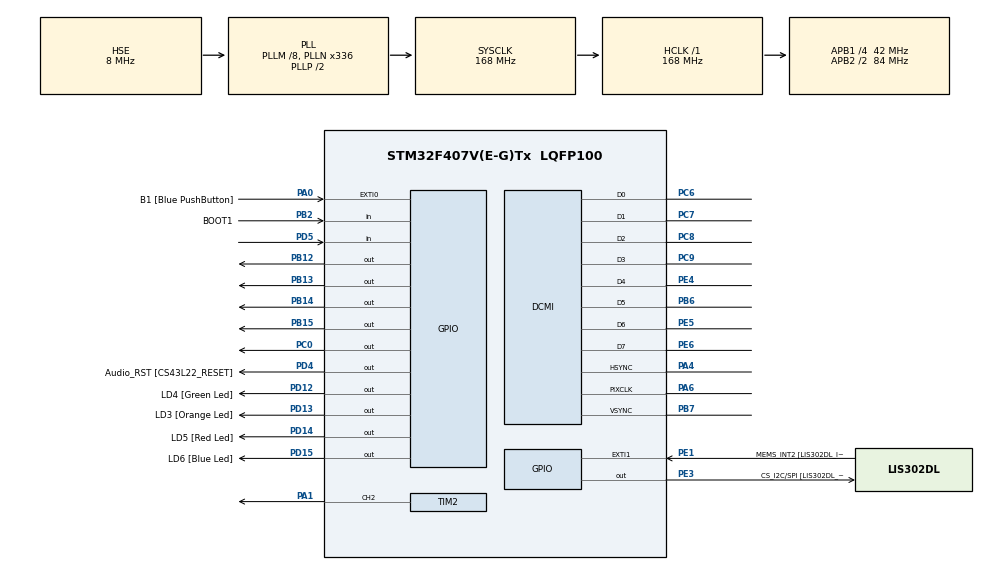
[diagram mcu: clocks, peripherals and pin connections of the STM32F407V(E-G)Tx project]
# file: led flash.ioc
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Dma.DCMI.0.Direction=DMA_PERIPH_TO_MEMORY
Dma.DCMI.0.FIFOMode=DMA_FIFOMODE_ENABLE
Dma.DCMI.0.FIFOThreshold=DMA_FIFO_THRESHOLD_FULL
Dma.DCMI.0.Instance=DMA2_Stream1
Dma.DCMI.0.MemBurst=DMA_MBURST_SINGLE
Dma.DCMI.0.MemDataAlignment=DMA_MDATAALIGN_WORD
Dma.DCMI.0.MemInc=DMA_MINC_ENABLE
Dma.DCMI.0.Mode=DMA_NORMAL
Dma.DCMI.0.PeriphBurst=DMA_PBURST_SINGLE
Dma.DCMI.0.PeriphDataAlignment=DMA_PDATAALIGN_WORD
Dma.DCMI.0.PeriphInc=DMA_PINC_DISABLE
Dma.DCMI.0.Priority=DMA_PRIORITY_HIGH
Dma.Request0=DCMI
Dma.Request1=TIM2_CH2/CH4
Dma.TIM2_CH2/CH4.1.Direction=DMA_MEMORY_TO_PERIPH
Dma.TIM2_CH2/CH4.1.FIFOMode=DMA_FIFOMODE_DISABLE
Dma.TIM2_CH2/CH4.1.Instance=DMA1_Stream6
Dma.TIM2_CH2/CH4.1.MemDataAlignment=DMA_MDATAALIGN_WORD
Dma.TIM2_CH2/CH4.1.MemInc=DMA_MINC_ENABLE
Dma.TIM2_CH2/CH4.1.Mode=DMA_NORMAL
Dma.TIM2_CH2/CH4.1.PeriphDataAlignment=DMA_PDATAALIGN_WORD
Dma.TIM2_CH2/CH4.1.PeriphInc=DMA_PINC_DISABLE
Dma.TIM2_CH2/CH4.1.Priority=DMA_PRIORITY_HIGH
Mcu.Family=STM32F4
Mcu.Name=STM32F407V(E-G)Tx
Mcu.Package=LQFP100
NVIC.DMA1_Stream6_IRQn=true\:0\:0\:false\:false\:true\:false\:true\:true
NVIC.DMA2_Stream1_IRQn=true\:0\:0\:false\:false\:true\:false\:true\:true
NVIC.PriorityGroup=NVIC_PRIORITYGROUP_4
PA0-WKUP.GPIO_Label=B1 [Blue PushButton]
PA0-WKUP.GPIO_ModeDefaultEXTI=GPIO_MODE_EVT_RISING
PA0-WKUP.GPIO_PuPd=GPIO_NOPULL
PA0-WKUP.Signal=GPXTI0
PA1.GPIO_Speed=GPIO_SPEED_FREQ_VERY_HIGH
PA1.Signal=S_TIM2_CH2
PA13.GPIO_Label=SWDIO
PA13.Mode=Serial_Wire
PA13.Signal=SYS_JTMS-SWDIO
PA14.GPIO_Label=SWCLK
PA14.Mode=Serial_Wire
PA14.Signal=SYS_JTCK-SWCLK
PA4.GPIO_Speed=GPIO_SPEED_FREQ_VERY_HIGH
PA4.Mode=Slave_8_bits_External_Synchro
PA4.Signal=DCMI_HSYNC
PA5.GPIO_Label=SPI1_SCK [LIS302DL_SCL/SPC]
PA5.GPIO_Mode=GPIO_MODE_AF_PP
PA5.GPIO_PuPd=GPIO_NOPULL
PA5.GPIO_Speed=GPIO_SPEED_FREQ_LOW
PA5.Signal=SPI1_SCK
PA6.GPIO_Speed=GPIO_SPEED_FREQ_VERY_HIGH
PA6.Mode=Slave_8_bits_External_Synchro
PA6.Signal=DCMI_PIXCLK
PA7.GPIO_Label=SPI1_MOSI [LIS302DL_SDA/SDI/SDO]
PA7.GPIO_Mode=GPIO_MODE_AF_PP
PA7.GPIO_PuPd=GPIO_NOPULL
PA7.GPIO_Speed=GPIO_SPEED_FREQ_LOW
PA7.Signal=SPI1_MOSI
PB10.GPIO_Label=CLK_IN [MP45DT02_CLK]
PB10.GPIO_Mode=GPIO_MODE_AF_PP
PB10.GPIO_PuPd=GPIO_NOPULL
PB10.GPIO_Speed=GPIO_SPEED_FREQ_LOW
PB10.Signal=I2S2_CK
PB12.Signal=GPIO_Output
PB13.Signal=GPIO_Output
PB14.Signal=GPIO_Output
PB15.Signal=GPIO_Output
PB2.GPIO_Label=BOOT1
PB2.GPIO_Mode=GPIO_MODE_INPUT
PB2.GPIO_PuPd=GPIO_NOPULL
PB2.Signal=GPIO_Input
PB3.GPIO_Label=SWO
PB3.Signal=SYS_JTDO-SWO
PB6.GPIO_Speed=GPIO_SPEED_FREQ_VERY_HIGH
PB6.Mode=Slave_8_bits_External_Synchro
PB6.Signal=DCMI_D5
PB7.GPIO_Speed=GPIO_SPEED_FREQ_VERY_HIGH
PB7.Mode=Slave_8_bits_External_Synchro
PB7.Signal=DCMI_VSYNC
PB9.GPIO_Label=Audio_SDA [CS43L22_SDA]
PB9.GPIO_Mode=GPIO_MODE_AF_OD
PB9.GPIO_Pu=GPIO_PULLUP
PB9.GPIO_PuPd=GPIO_NOPULL
PB9.GPIO_Speed=GPIO_SPEED_FREQ_LOW
PB9.Signal=I2C1_SDA
PC0.GPIO_PuPd=GPIO_NOPULL
PC0.GPIO_Speed=GPIO_SPEED_FREQ_LOW
PC0.PinState=GPIO_PIN_SET
PC0.Signal=GPIO_Output
PC10.GPIO_Label=I2S3_SCK [CS43L22_SCLK]
PC10.GPIO_Mode=GPIO_MODE_AF_PP
PC10.GPIO_PuPd=GPIO_NOPULL
PC10.GPIO_Speed=GPIO_SPEED_FREQ_LOW
PC10.Signal=I2S3_CK
PC12.GPIO_Label=I2S3_SD [CS43L22_SDIN]
PC12.GPIO_Mode=GPIO_MODE_AF_PP
PC12.GPIO_PuPd=GPIO_NOPULL
PC12.GPIO_Speed=GPIO_SPEED_FREQ_LOW
PC12.Signal=I2S3_SD
PC14-OSC32_IN.GPIO_Label=PC14-OSC32_IN
PC14-OSC32_IN.Mode=LSE-External-Oscillator
PC14-OSC32_IN.Signal=RCC_OSC32_IN
PC15-OSC32_OUT.GPIO_Label=PC15-OSC32_OUT
PC15-OSC32_OUT.Mode=LSE-External-Oscillator
PC15-OSC32_OUT.Signal=RCC_OSC32_OUT
PC3.GPIO_Label=PDM_OUT [MP45DT02_DOUT]
PC3.GPIO_Mode=GPIO_MODE_AF_PP
PC3.GPIO_PuPd=GPIO_NOPULL
PC3.GPIO_Speed=GPIO_SPEED_FREQ_LOW
PC3.Signal=I2S2_SD
PC6.GPIO_Speed=GPIO_SPEED_FREQ_VERY_HIGH
PC6.Mode=Slave_8_bits_External_Synchro
PC6.Signal=DCMI_D0
PC7.GPIO_Speed=GPIO_SPEED_FREQ_VERY_HIGH
PC7.Mode=Slave_8_bits_External_Synchro
PC7.Signal=DCMI_D1
PC8.GPIO_Speed=GPIO_SPEED_FREQ_VERY_HIGH
PC8.Mode=Slave_8_bits_External_Synchro
PC8.Signal=DCMI_D2
PC9.GPIO_Speed=GPIO_SPEED_FREQ_VERY_HIGH
PC9.Mode=Slave_8_bits_External_Synchro
PC9.Signal=DCMI_D3
PD12.GPIO_Label=LD4 [Green Led]
PD12.GPIO_PuPd=GPIO_NOPULL
PD12.GPIO_Speed=GPIO_SPEED_FREQ_LOW
PD12.Signal=GPIO_Output
PD13.GPIO_Label=LD3 [Orange Led]
PD13.GPIO_PuPd=GPIO_NOPULL
PD13.GPIO_Speed=GPIO_SPEED_FREQ_LOW
PD13.Signal=GPIO_Output
PD14.GPIO_Label=LD5 [Red Led]
PD14.GPIO_PuPd=GPIO_NOPULL
PD14.GPIO_Speed=GPIO_SPEED_FREQ_LOW
PD14.Signal=GPIO_Output
PD15.GPIO_Label=LD6 [Blue Led]
PD15.GPIO_PuPd=GPIO_NOPULL
PD15.GPIO_Speed=GPIO_SPEED_FREQ_LOW
PD15.Signal=GPIO_Output
PD4.GPIO_Label=Audio_RST [CS43L22_RESET]
PD4.GPIO_PuPd=GPIO_NOPULL
PD4.GPIO_Speed=GPIO_SPEED_FREQ_LOW
PD4.Signal=GPIO_Output
PD5.GPIO_Mode=GPIO_MODE_INPUT
PD5.GPIO_PuPd=GPIO_NOPULL
PD5.Signal=GPIO_Input
PE1.GPIO_Label=MEMS_INT2 [LIS302DL_INT2]
PE1.GPIO_ModeDefaultEXTI=GPIO_MODE_EVT_RISING
PE1.GPIO_PuPd=GPIO_NOPULL
PE1.Signal=GPXTI1
PE3.GPIO_Label=CS_I2C/SPI [LIS302DL_CS_I2C/SPI]
PE3.GPIO_PuPd=GPIO_NOPULL
PE3.GPIO_Speed=GPIO_SPEED_FREQ_LOW
PE3.Signal=GPIO_Output
PE4.GPIO_Speed=GPIO_SPEED_FREQ_VERY_HIGH
PE4.Mode=Slave_8_bits_External_Synchro
PE4.Signal=DCMI_D4
PE5.GPIO_Speed=GPIO_SPEED_FREQ_VERY_HIGH
PE5.Mode=Slave_8_bits_External_Synchro
PE5.Signal=DCMI_D6
PE6.GPIO_Speed=GPIO_SPEED_FREQ_VERY_HIGH
PE6.Mode=Slave_8_bits_External_Synchro
PE6.Signal=DCMI_D7
PH0-OSC_IN.GPIO_Label=PH0-OSC_IN
PH0-OSC_IN.Mode=HSE-External-Oscillator
PH0-OSC_IN.Signal=RCC_OSC_IN
PH1-OSC_OUT.GPIO_Label=PH1-OSC_OUT
PH1-OSC_OUT.Mode=HSE-External-Oscillator
PH1-OSC_OUT.Signal=RCC_OSC_OUT
ProjectManager.HeapSize=0x200
ProjectManager.StackSize=0x400
ProjectManager.TargetToolchain=STM32CubeIDE
RCC.48MHZClocksFreq_Value=48000000
RCC.AHBFreq_Value=168000000
RCC.APB1CLKDivider=RCC_HCLK_DIV4
RCC.APB1Freq_Value=42000000
RCC.APB1TimFreq_Value=84000000
RCC.APB2CLKDivider=RCC_HCLK_DIV2
RCC.APB2Freq_Value=84000000
RCC.APB2TimFreq_Value=168000000
RCC.CortexFreq_Value=168000000
RCC.HCLKFreq_Value=168000000
RCC.HSE_VALUE=8000000
RCC.HSI_VALUE=16000000
RCC.PLLM=8
RCC.PLLN=336
RCC.PLLQ=7
RCC.SYSCLKFreq_VALUE=168000000
RCC.SYSCLKSource=RCC_SYSCLKSOURCE_PLLCLK
RCC.VCOOutputFreq_Value=336000000
SH.S_TIM2_CH2.0=TIM2_CH2,PWM Generation2 CH2
TIM2.Channel-PWM\ Generation2\ CH2=TIM_CHANNEL_2
TIM2.Period=104
VP_TIM2_VS_ClockSourceINT.Mode=Internal
board=STM32F407G-DISC1

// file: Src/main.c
/* USER CODE BEGIN Header */
/**
  ******************************************************************************
  * @file           : main.c
  * @brief          : Main program body
  ******************************************************************************
  * @attention
  *
  * Copyright (c) 2026 STMicroelectronics.
  * All rights reserved.
  *
  * This software is licensed under terms that can be found in the LICENSE file
  * in the root directory of this software component.
  * If no LICENSE file comes with this software, it is provided AS-IS.
  *
  ******************************************************************************
  */
/* USER CODE END Header */
#include "main.h"

/* USER CODE BEGIN Includes */
#include "app_config.h"
#include "dcmi_capture.h"
#include "ws2812.h"

/* USER CODE END Includes */

/* USER CODE BEGIN PD */

#define TFP401_SIGNAL_DIAGNOSTIC_MODE APP_ENABLE_TFP401_SIGNAL_DIAGNOSTIC
/* Passive signal monitor for normal DCMI operation. It samples the DCMI GPIO
 * inputs from the main loop and accumulates transitions without taking over
 * the pipeline or changing the pin configuration.
 */
#define TFP401_SIGNAL_MONITOR APP_ENABLE_TFP401_SIGNAL_MONITOR

#define LED_STRIP_SELF_TEST_MODE APP_ENABLE_LED_SELF_TEST
#define LED_RANDOM_COLOR_HOLD_MS 250U
#define LED_RANDOM_OFF_HOLD_MS    80U
#define LED_RANDOM_MAX_CHANNEL    80U
/* USER CODE END PD */

DCMI_HandleTypeDef hdcmi;
DMA_HandleTypeDef hdma_dcmi;

TIM_HandleTypeDef htim2;
DMA_HandleTypeDef hdma_tim2_ch2_ch4;

/* USER CODE BEGIN PV */
#if TFP401_SIGNAL_DIAGNOSTIC_MODE || TFP401_SIGNAL_MONITOR
volatile uint32_t g_tfp401_pclk_transitions;
volatile uint32_t g_tfp401_hsync_transitions;
volatile uint32_t g_tfp401_vsync_transitions;
volatile uint32_t g_tfp401_pclk_last;
volatile uint32_t g_tfp401_hsync_last;
volatile uint32_t g_tfp401_vsync_last;
volatile uint32_t g_tfp401_data_transitions;
volatile uint32_t g_tfp401_data_sample_count;
volatile uint32_t g_tfp401_data_last;
volatile uint32_t g_tfp401_data_high_percent[8];
volatile uint32_t g_tfp401_data_bit_transitions[8];
#endif

#if LED_STRIP_SELF_TEST_MODE
volatile uint32_t g_led_self_test_phase;
#endif

/* USER CODE END PV */

void SystemClock_Config(void);
static void MX_GPIO_Init(void);
static void MX_DMA_Init(void);
static void MX_DCMI_Init(void);
static void MX_TIM2_Init(void);

/* USER CODE BEGIN 0 */
#if TFP401_SIGNAL_DIAGNOSTIC_MODE || TFP401_SIGNAL_MONITOR
static uint32_t tfp401_read_data(void)
{
    uint32_t data = 0U;

    data |= (GPIOC->IDR >> 6U) & 0x0FU;       /* D0..D3: PC6..PC9 */
    data |= ((GPIOE->IDR >> 4U) & 0x01U) << 4U; /* D4: PE4 */
    data |= ((GPIOB->IDR >> 6U) & 0x01U) << 5U; /* D5: PB6 */
    data |= ((GPIOE->IDR >> 5U) & 0x03U) << 6U; /* D6,D7: PE5,PE6 */
    return data;
}
#endif

#if TFP401_SIGNAL_DIAGNOSTIC_MODE
static void tfp401_signal_diagnostic_run(void)
{
    for (;;) {
        uint32_t previous_pclk = (GPIOA->IDR & GPIO_PIN_6) != 0U;
        uint32_t previous_hsync = (GPIOA->IDR & GPIO_PIN_4) != 0U;
        uint32_t previous_vsync = (GPIOB->IDR & GPIO_PIN_7) != 0U;
        uint32_t previous_data = tfp401_read_data();
        uint32_t started = HAL_GetTick();
        uint32_t pclk_transitions = 0U;
        uint32_t hsync_transitions = 0U;
        uint32_t vsync_transitions = 0U;
        uint32_t data_transitions = 0U;
        uint32_t data_sample_count = 0U;
        uint32_t data_high_count[8] = {0U};
        uint32_t data_bit_transitions[8] = {0U};

        while ((HAL_GetTick() - started) < 250U) {
            uint32_t pclk = (GPIOA->IDR & GPIO_PIN_6) != 0U;
            uint32_t hsync = (GPIOA->IDR & GPIO_PIN_4) != 0U;
            uint32_t vsync = (GPIOB->IDR & GPIO_PIN_7) != 0U;
            uint32_t data = tfp401_read_data();

            pclk_transitions += pclk != previous_pclk;
            hsync_transitions += hsync != previous_hsync;
            vsync_transitions += vsync != previous_vsync;
            data_transitions += data != previous_data;
            for (uint32_t bit = 0U; bit < 8U; bit++) {
                data_high_count[bit] += (data >> bit) & 0x01U;
                data_bit_transitions[bit] +=
                    ((data ^ previous_data) >> bit) & 0x01U;
            }
            data_sample_count++;
            previous_pclk = pclk;
            previous_hsync = hsync;
            previous_vsync = vsync;
            previous_data = data;
        }

        g_tfp401_pclk_transitions = pclk_transitions;
        g_tfp401_hsync_transitions = hsync_transitions;
        g_tfp401_vsync_transitions = vsync_transitions;
        g_tfp401_data_transitions = data_transitions;
        g_tfp401_data_sample_count = data_sample_count;
        g_tfp401_data_last = previous_data;
        for (uint32_t bit = 0U; bit < 8U; bit++) {
            g_tfp401_data_high_percent[bit] =
                data_sample_count != 0U
                    ? (data_high_count[bit] * 100U) / data_sample_count
                    : 0U;
            g_tfp401_data_bit_transitions[bit] = data_bit_transitions[bit];
        }

        HAL_GPIO_WritePin(GPIOD, LD4_Pin,
                          pclk_transitions != 0U ? GPIO_PIN_SET : GPIO_PIN_RESET);
        HAL_GPIO_WritePin(GPIOD, LD3_Pin,
                          hsync_transitions != 0U ? GPIO_PIN_SET : GPIO_PIN_RESET);
        HAL_GPIO_WritePin(GPIOD, LD5_Pin,
                          vsync_transitions != 0U ? GPIO_PIN_SET : GPIO_PIN_RESET);
        HAL_GPIO_WritePin(GPIOD, LD6_Pin,
                          data_transitions != 0U ? GPIO_PIN_SET : GPIO_PIN_RESET);
    }
}
#endif

#if LED_STRIP_SELF_TEST_MODE
static void led_test_set_status_leds(uint32_t mask)
{
    HAL_GPIO_WritePin(GPIOD, LD4_Pin,
                      (mask & 0x1U) != 0U ? GPIO_PIN_SET : GPIO_PIN_RESET);
    HAL_GPIO_WritePin(GPIOD, LD3_Pin,
                      (mask & 0x2U) != 0U ? GPIO_PIN_SET : GPIO_PIN_RESET);
    HAL_GPIO_WritePin(GPIOD, LD5_Pin,
                      (mask & 0x4U) != 0U ? GPIO_PIN_SET : GPIO_PIN_RESET);
    HAL_GPIO_WritePin(GPIOD, LD6_Pin,
                      (mask & 0x8U) != 0U ? GPIO_PIN_SET : GPIO_PIN_RESET);
}

static void led_test_show(uint8_t r, uint8_t g, uint8_t b, uint32_t status_mask)
{
    led_test_set_status_leds(status_mask);
    WS2812_TestSolidRgb(r, g, b);
}

static void led_test_hold(uint32_t duration_ms)
{
    uint32_t started = HAL_GetTick();

    while ((HAL_GetTick() - started) < duration_ms) {
        /* A frame requested while the previous DMA transfer is finishing is
         * deferred. Keep flushing so every synthetic test color reaches DIN.
         */
        WS2812_Flush();
        HAL_Delay(1U);
    }
}

static uint32_t led_test_random_next(uint32_t *state)
{
    uint32_t value = *state;

    value ^= value << 13U;
    value ^= value >> 17U;
    value ^= value << 5U;
    *state = value;
    return value;
}

static void led_strip_self_test_run(void)
{
    uint32_t random_state = 0x6D2B79F5U;

    WS2812_Init();

    for (;;) {
        uint32_t random = led_test_random_next(&random_state);
        uint8_t r = (uint8_t)(random % (LED_RANDOM_MAX_CHANNEL + 1U));
        uint8_t g = (uint8_t)((random >> 8U) % (LED_RANDOM_MAX_CHANNEL + 1U));
        uint8_t b = (uint8_t)((random >> 16U) % (LED_RANDOM_MAX_CHANNEL + 1U));

        /* Keep every test frame clearly visible without requesting full-strip
         * maximum current from a random near-white combination. */
        if (r < 24U && g < 24U && b < 24U) {
            b = 48U;
        }

        g_led_self_test_phase++;
        led_test_show(r, g, b, g_led_self_test_phase & 0x0FU);
        led_test_hold(LED_RANDOM_COLOR_HOLD_MS);

        led_test_show(0U, 0U, 0U, 0U);
        led_test_hold(LED_RANDOM_OFF_HOLD_MS);
    }
}
#endif

#if TFP401_SIGNAL_MONITOR
static void tfp401_signal_monitor_task(void)
{
    static uint32_t initialized;
    static uint32_t previous_pclk;
    static uint32_t previous_hsync;
    static uint32_t previous_vsync;
    static uint32_t previous_data;
    uint32_t pclk = (GPIOA->IDR & GPIO_PIN_6) != 0U;
    uint32_t hsync = (GPIOA->IDR & GPIO_PIN_4) != 0U;
    uint32_t vsync = (GPIOB->IDR & GPIO_PIN_7) != 0U;
    uint32_t data = tfp401_read_data();

    if (initialized != 0U) {
        uint32_t changed_data = data ^ previous_data;

        g_tfp401_pclk_transitions += pclk != previous_pclk;
        g_tfp401_hsync_transitions += hsync != previous_hsync;
        g_tfp401_vsync_transitions += vsync != previous_vsync;
        g_tfp401_data_transitions += changed_data != 0U;
        for (uint32_t bit = 0U; bit < 8U; bit++) {
            g_tfp401_data_bit_transitions[bit] +=
                (changed_data >> bit) & 0x01U;
        }
    } else {
        initialized = 1U;
    }

    g_tfp401_data_sample_count++;
    g_tfp401_data_last = data;
    g_tfp401_pclk_last = pclk;
    g_tfp401_hsync_last = hsync;
    g_tfp401_vsync_last = vsync;
    previous_pclk = pclk;
    previous_hsync = hsync;
    previous_vsync = vsync;
    previous_data = data;
}
#endif

#if EDID_WRITER_MODE
/* Bit-banged I2C master (~25 kHz, open-drain with internal pull-ups) for the
 * 24C02-class EDID EEPROM at address 0x50 on the TFP401 breakout's pads.
 *
 * Flow, watched through Live Expressions:
 *   boot  -> reads all 256 EEPROM bytes into g_edid_dump
 *            g_edid_state = 2 (armed), blue LED blinking
 *            (stock content starts 00 FF .. FF 00 04 81 04 00)
 *   press the blue USER button -> writes the AMBILIGHT EDID (orange LED),
 *            pads bytes 128..255 with 0xFF, then verifies byte-for-byte
 *   green LED blinking = written + verified (g_edid_state = 5)
 *   red LED blinking   = failure; g_edid_state/g_edid_fail_offset say where
 */
#define EDID_EE_ADDR 0x50U

/* Keep this byte-for-byte in sync with
 * tools/edid/tfp401_720x480p60_compat.bin. This deliberately advertises one
 * standard 27 MHz DVI timing and no extension block so simple splitter EDID
 * parsers have nothing unusual to merge or reject. */
static const uint8_t edid_image[128] = {
    0x00, 0xFF, 0xFF, 0xFF, 0xFF, 0xFF, 0xFF, 0x00, 0x04, 0x81, 0x80, 0x04, 0x01, 0x00, 0x00, 0x00,
    0x01, 0x24, 0x01, 0x03, 0x80, 0x10, 0x09, 0x78, 0x0A, 0xEE, 0x91, 0xA3, 0x54, 0x4C, 0x99, 0x26,
    0x0F, 0x50, 0x54, 0x00, 0x00, 0x00, 0x01, 0x01, 0x01, 0x01, 0x01, 0x01, 0x01, 0x01, 0x01, 0x01,
    0x01, 0x01, 0x01, 0x01, 0x01, 0x01, 0x8C, 0x0A, 0xD0, 0x8A, 0x20, 0xE0, 0x2D, 0x10, 0x10, 0x3E,
    0x96, 0x00, 0xA0, 0x5A, 0x00, 0x00, 0x00, 0x18, 0x00, 0x00, 0x00, 0xFC, 0x00, 0x54, 0x46, 0x50,
    0x34, 0x30, 0x31, 0x20, 0x34, 0x38, 0x30, 0x50, 0x0A, 0x20, 0x00, 0x00, 0x00, 0xFD, 0x00, 0x3B,
    0x3D, 0x1E, 0x20, 0x03, 0x00, 0x0A, 0x20, 0x20, 0x20, 0x20, 0x20, 0x20, 0x00, 0x00, 0x00, 0x10,
    0x00, 0x00, 0x00, 0x00, 0x00, 0x00, 0x00, 0x00, 0x00, 0x00, 0x00, 0x00, 0x00, 0x00, 0x00, 0x10
};

/* 0=init 1=eeprom-no-ack 2=armed 3=writing 4=verifying 5=OK
 * 6=write-nack 7=verify-mismatch */
volatile uint32_t g_edid_state;
volatile uint32_t g_edid_fail_offset = 0xFFFFFFFFU;
volatile uint8_t g_edid_dump[256];

static void ew_delay(void)
{
    for (volatile uint32_t i = 0U; i < 400U; i++) {
        __NOP();
    }
}

static void ew_scl(uint32_t level)
{
    HAL_GPIO_WritePin(GPIOB, GPIO_PIN_8,
                      level != 0U ? GPIO_PIN_SET : GPIO_PIN_RESET);
}

static void ew_sda(uint32_t level)
{
    HAL_GPIO_WritePin(GPIOB, GPIO_PIN_9,
                      level != 0U ? GPIO_PIN_SET : GPIO_PIN_RESET);
}

static uint32_t ew_sda_read(void)
{
    return HAL_GPIO_ReadPin(GPIOB, GPIO_PIN_9) == GPIO_PIN_SET ? 1U : 0U;
}

static void ew_gpio_init(void)
{
    GPIO_InitTypeDef g = {0};

    __HAL_RCC_GPIOB_CLK_ENABLE();
    ew_scl(1U);
    ew_sda(1U);
    g.Pin = GPIO_PIN_8 | GPIO_PIN_9;
    g.Mode = GPIO_MODE_OUTPUT_OD;
    g.Pull = GPIO_PULLUP;
    g.Speed = GPIO_SPEED_FREQ_LOW;
    HAL_GPIO_Init(GPIOB, &g);
}

static void ew_start(void)
{
    ew_sda(1U);
    ew_scl(1U);
    ew_delay();
    ew_sda(0U);
    ew_delay();
    ew_scl(0U);
    ew_delay();
}

static void ew_stop(void)
{
    ew_sda(0U);
    ew_delay();
    ew_scl(1U);
    ew_delay();
    ew_sda(1U);
    ew_delay();
}

static uint32_t ew_write_byte(uint8_t value)
{
    uint32_t acked;

    for (int8_t bit = 7; bit >= 0; bit--) {
        ew_sda((value >> bit) & 1U);
        ew_delay();
        ew_scl(1U);
        ew_delay();
        ew_scl(0U);
    }
    ew_sda(1U); /* release for ACK */
    ew_delay();
    ew_scl(1U);
    ew_delay();
    acked = ew_sda_read() == 0U ? 1U : 0U;
    ew_scl(0U);
    ew_delay();
    return acked;
}

static uint8_t ew_read_byte(uint32_t send_ack)
{
    uint8_t value = 0U;

    ew_sda(1U); /* release the line */
    for (int8_t bit = 7; bit >= 0; bit--) {
        ew_delay();
        ew_scl(1U);
        ew_delay();
        value = (uint8_t)((value << 1) | (uint8_t)ew_sda_read());
        ew_scl(0U);
    }
    ew_sda(send_ack != 0U ? 0U : 1U);
    ew_delay();
    ew_scl(1U);
    ew_delay();
    ew_scl(0U);
    ew_sda(1U);
    ew_delay();
    return value;
}

static uint32_t ew_read_all(void)
{
    ew_start();
    if (ew_write_byte((uint8_t)(EDID_EE_ADDR << 1)) == 0U) {
        ew_stop();
        return 0U;
    }
    if (ew_write_byte(0x00U) == 0U) {
        ew_stop();
        return 0U;
    }
    ew_start();
    if (ew_write_byte((uint8_t)((EDID_EE_ADDR << 1) | 1U)) == 0U) {
        ew_stop();
        return 0U;
    }
    for (uint32_t i = 0U; i < 256U; i++) {
        g_edid_dump[i] = ew_read_byte(i < 255U ? 1U : 0U);
    }
    ew_stop();
    return 1U;
}

static uint32_t ew_write_page(uint32_t offset, const uint8_t *data)
{
    ew_start();
    if (ew_write_byte((uint8_t)(EDID_EE_ADDR << 1)) == 0U) {
        ew_stop();
        return 0U;
    }
    if (ew_write_byte((uint8_t)offset) == 0U) {
        ew_stop();
        return 0U;
    }
    for (uint32_t i = 0U; i < 8U; i++) {
        if (ew_write_byte(data[i]) == 0U) {
            ew_stop();
            return 0U;
        }
    }
    ew_stop();
    HAL_Delay(10); /* EEPROM internal write cycle */
    return 1U;
}

static void ew_halt_blink(uint16_t led_pin)
{
    for (;;) {
        HAL_GPIO_TogglePin(GPIOD, led_pin);
        HAL_Delay(200);
    }
}

static void edid_writer_run(void)
{
    static const uint8_t ff_page[8] =
        {0xFF, 0xFF, 0xFF, 0xFF, 0xFF, 0xFF, 0xFF, 0xFF};

    ew_gpio_init();
    HAL_Delay(100);

    if (ew_read_all() == 0U) {
        g_edid_state = 1U;
        ew_halt_blink(LD5_Pin); /* red: no ACK - check wiring/power */
    }
    g_edid_state = 2U; /* armed: inspect g_edid_dump, press the USER button */

    while (HAL_GPIO_ReadPin(B1_GPIO_Port, B1_Pin) == GPIO_PIN_RESET) {
        HAL_GPIO_TogglePin(GPIOD, LD6_Pin); /* blue: waiting */
        HAL_Delay(150);
    }
    HAL_GPIO_WritePin(GPIOD, LD6_Pin, GPIO_PIN_RESET);

    g_edid_state = 3U;
    HAL_GPIO_WritePin(GPIOD, LD3_Pin, GPIO_PIN_SET); /* orange: writing */
    for (uint32_t offset = 0U; offset < 256U; offset += 8U) {
        const uint8_t *src = offset < 128U ? &edid_image[offset] : ff_page;

        if (ew_write_page(offset, src) == 0U) {
            g_edid_state = 6U;
            g_edid_fail_offset = offset;
            ew_halt_blink(LD5_Pin);
        }
    }
    HAL_GPIO_WritePin(GPIOD, LD3_Pin, GPIO_PIN_RESET);

    g_edid_state = 4U;
    if (ew_read_all() == 0U) {
        g_edid_state = 1U;
        ew_halt_blink(LD5_Pin);
    }
    for (uint32_t i = 0U; i < 256U; i++) {
        uint8_t expected = i < 128U ? edid_image[i] : 0xFFU;

        if (g_edid_dump[i] != expected) {
            g_edid_state = 7U;
            g_edid_fail_offset = i;
            ew_halt_blink(LD5_Pin);
        }
    }

    g_edid_state = 5U;
    ew_halt_blink(LD4_Pin); /* green: written and verified */
}
#endif /* EDID_WRITER_MODE */

/* USER CODE END 0 */

int main(void)
{

  /* MCU Configuration--------------------------------------------------------*/

  /* Reset of all peripherals, Initializes the Flash interface and the Systick. */
  HAL_Init();

  /* Configure the system clock */
  SystemClock_Config();

  /* Initialize all configured peripherals */
  MX_GPIO_Init();
  MX_DMA_Init();
  MX_DCMI_Init();
  MX_TIM2_Init();

#if TFP401_SIGNAL_DIAGNOSTIC_MODE
  tfp401_signal_diagnostic_run(); /* never returns */
#elif LED_STRIP_SELF_TEST_MODE
  led_strip_self_test_run(); /* never returns */
#else
  DCMI_Capture_Init();
  WS2812_Init();
#endif
  /* USER CODE BEGIN 2 */
#if EDID_WRITER_MODE
  edid_writer_run(); /* never returns; see flow notes above */
#endif
  /* USER CODE END 2 */

  /* Infinite loop */
  /* USER CODE BEGIN WHILE */
  while (1)
  {
#if TFP401_SIGNAL_MONITOR
    tfp401_signal_monitor_task();
#endif
    /* No HAL_Delay here: capture completion is detected by polling the DMA
     * counter, so a 1 ms sleep per pass adds milliseconds of latency to
     * every capture. The loop is naturally paced by the video frame rate.
     */
    DCMI_Capture_Task();
    if (DCMI_Capture_ConsumeLedUpdate() != 0U) {
      WS2812_TaskEdgeZonesRgb(g_dcmi_led_zone_r,
                              g_dcmi_led_zone_g,
                              g_dcmi_led_zone_b,
                              DCMI_LED_ZONE_COUNT);
    }
    WS2812_GlideTask();
    WS2812_Flush();

    /* USER CODE END WHILE */

  }
}

void SystemClock_Config(void)
{
  RCC_OscInitTypeDef RCC_OscInitStruct = {0};
  RCC_ClkInitTypeDef RCC_ClkInitStruct = {0};

  /** Configure the main internal regulator output voltage
  */
  __HAL_RCC_PWR_CLK_ENABLE();
  __HAL_PWR_VOLTAGESCALING_CONFIG(PWR_REGULATOR_VOLTAGE_SCALE1);

  /** Initializes the RCC Oscillators according to the specified parameters
  * in the RCC_OscInitTypeDef structure.
  */
  RCC_OscInitStruct.OscillatorType = RCC_OSCILLATORTYPE_HSE;
  RCC_OscInitStruct.HSEState = RCC_HSE_ON;
  RCC_OscInitStruct.PLL.PLLState = RCC_PLL_ON;
  RCC_OscInitStruct.PLL.PLLSource = RCC_PLLSOURCE_HSE;
  RCC_OscInitStruct.PLL.PLLM = 8;
  RCC_OscInitStruct.PLL.PLLN = 336;
  RCC_OscInitStruct.PLL.PLLP = RCC_PLLP_DIV2;
  RCC_OscInitStruct.PLL.PLLQ = 7;
  if (HAL_RCC_OscConfig(&RCC_OscInitStruct) != HAL_OK)
  {
    Error_Handler();
  }

  /** Initializes the CPU, AHB and APB buses clocks
  */
  RCC_ClkInitStruct.ClockType = RCC_CLOCKTYPE_HCLK|RCC_CLOCKTYPE_SYSCLK
                              |RCC_CLOCKTYPE_PCLK1|RCC_CLOCKTYPE_PCLK2;
  RCC_ClkInitStruct.SYSCLKSource = RCC_SYSCLKSOURCE_PLLCLK;
  RCC_ClkInitStruct.AHBCLKDivider = RCC_SYSCLK_DIV1;
  RCC_ClkInitStruct.APB1CLKDivider = RCC_HCLK_DIV4;
  RCC_ClkInitStruct.APB2CLKDivider = RCC_HCLK_DIV2;

  if (HAL_RCC_ClockConfig(&RCC_ClkInitStruct, FLASH_LATENCY_5) != HAL_OK)
  {
    Error_Handler();
  }
}

static void MX_DCMI_Init(void)
{

  hdcmi.Instance = DCMI;
  hdcmi.Init.SynchroMode = DCMI_SYNCHRO_HARDWARE;
  /* Mode-specific sync polarity is applied after HAL initialization. */
#if DCMI_PCLK_CAPTURE_FALLING
  hdcmi.Init.PCKPolarity = DCMI_PCKPOLARITY_FALLING;
#else
  hdcmi.Init.PCKPolarity = DCMI_PCKPOLARITY_RISING;
#endif
  hdcmi.Init.VSPolarity = DCMI_VSPOLARITY_HIGH;
  hdcmi.Init.HSPolarity = DCMI_HSPOLARITY_HIGH;
  hdcmi.Init.CaptureRate = DCMI_CR_ALL_FRAME;
  hdcmi.Init.ExtendedDataMode = DCMI_EXTEND_DATA_8B;
  hdcmi.Init.JPEGMode = DCMI_JPEG_DISABLE;
  if (HAL_DCMI_Init(&hdcmi) != HAL_OK)
  {
    Error_Handler();
  }
  /* USER CODE BEGIN DCMI_Init 2 */
  __HAL_DCMI_DISABLE_IT(&hdcmi, DCMI_IT_LINE | DCMI_IT_VSYNC |
                               DCMI_IT_ERR | DCMI_IT_OVR | DCMI_IT_FRAME);

  /* Sync polarity per source mode (see DCMI_SOURCE_MODE in dcmi_capture.h).
   * The HIGH/HIGH init above matches mode 0 (CEA 720p, positive pulses).
   * Overridden here in user code so CubeMX regeneration keeps it.
   */
#if DCMI_SOURCE_MODE == 1U || DCMI_SOURCE_MODE == 3U
  /* TFP401 display sync pulses mark blanking. DCMI needs the opposite,
   * active-video qualification; the hardware sweep selects HIGH/HIGH.
   */
  DCMI->CR |= DCMI_CR_VSPOL | DCMI_CR_HSPOL;
#elif DCMI_SOURCE_MODE == 2U
  /* AMBILIGHT 720p50-RB EDID: HSync positive, VSync negative. */
  DCMI->CR &= ~DCMI_CR_VSPOL;
#endif

  /* USER CODE END DCMI_Init 2 */

}

static void MX_TIM2_Init(void)
{

  TIM_ClockConfigTypeDef sClockSourceConfig = {0};
  TIM_MasterConfigTypeDef sMasterConfig = {0};
  TIM_OC_InitTypeDef sConfigOC = {0};

  htim2.Instance = TIM2;
  htim2.Init.Prescaler = 0;
  htim2.Init.CounterMode = TIM_COUNTERMODE_UP;
  htim2.Init.Period = 104;
  htim2.Init.ClockDivision = TIM_CLOCKDIVISION_DIV1;
  htim2.Init.AutoReloadPreload = TIM_AUTORELOAD_PRELOAD_DISABLE;
  if (HAL_TIM_Base_Init(&htim2) != HAL_OK)
  {
    Error_Handler();
  }
  sClockSourceConfig.ClockSource = TIM_CLOCKSOURCE_INTERNAL;
  if (HAL_TIM_ConfigClockSource(&htim2, &sClockSourceConfig) != HAL_OK)
  {
    Error_Handler();
  }
  if (HAL_TIM_PWM_Init(&htim2) != HAL_OK)
  {
    Error_Handler();
  }
  sMasterConfig.MasterOutputTrigger = TIM_TRGO_RESET;
  sMasterConfig.MasterSlaveMode = TIM_MASTERSLAVEMODE_DISABLE;
  if (HAL_TIMEx_MasterConfigSynchronization(&htim2, &sMasterConfig) != HAL_OK)
  {
    Error_Handler();
  }
  sConfigOC.OCMode = TIM_OCMODE_PWM1;
  sConfigOC.Pulse = 0;
  sConfigOC.OCPolarity = TIM_OCPOLARITY_HIGH;
  sConfigOC.OCFastMode = TIM_OCFAST_DISABLE;
  if (HAL_TIM_PWM_ConfigChannel(&htim2, &sConfigOC, TIM_CHANNEL_2) != HAL_OK)
  {
    Error_Handler();
  }
  HAL_TIM_MspPostInit(&htim2);

}

static void MX_DMA_Init(void)
{

  /* DMA controller clock enable */
  __HAL_RCC_DMA2_CLK_ENABLE();
  __HAL_RCC_DMA1_CLK_ENABLE();

  /* DMA interrupt init */
  /* DMA1_Stream6_IRQn interrupt configuration */
  HAL_NVIC_SetPriority(DMA1_Stream6_IRQn, 0, 0);
  HAL_NVIC_EnableIRQ(DMA1_Stream6_IRQn);
  /* DMA2_Stream1_IRQn interrupt configuration */
  HAL_NVIC_SetPriority(DMA2_Stream1_IRQn, 0, 0);
  HAL_NVIC_EnableIRQ(DMA2_Stream1_IRQn);
  /* DCMI peripheral IRQ reports sync/overrun/error conditions separately
   * from the DMA stream IRQ.
   */
  HAL_NVIC_SetPriority(DCMI_IRQn, 1, 0);
  HAL_NVIC_EnableIRQ(DCMI_IRQn);

}

static void MX_GPIO_Init(void)
{
  GPIO_InitTypeDef GPIO_InitStruct = {0};

  /* GPIO Ports Clock Enable */
  __HAL_RCC_GPIOE_CLK_ENABLE();
  __HAL_RCC_GPIOC_CLK_ENABLE();
  __HAL_RCC_GPIOH_CLK_ENABLE();
  __HAL_RCC_GPIOA_CLK_ENABLE();
  __HAL_RCC_GPIOB_CLK_ENABLE();
  __HAL_RCC_GPIOD_CLK_ENABLE();

  /*Configure GPIO pin Output Level */
  HAL_GPIO_WritePin(CS_I2C_SPI_GPIO_Port, CS_I2C_SPI_Pin, GPIO_PIN_RESET);

  /*Configure GPIO pin Output Level */
  HAL_GPIO_WritePin(GPIOB, GPIO_PIN_12|GPIO_PIN_13|GPIO_PIN_14|GPIO_PIN_15, GPIO_PIN_RESET);

  /*Configure GPIO pin Output Level */
  HAL_GPIO_WritePin(GPIOD, LD4_Pin|LD3_Pin|LD5_Pin|LD6_Pin
                          |Audio_RST_Pin, GPIO_PIN_RESET);

  /*Configure GPIO pin : CS_I2C_SPI_Pin */
  GPIO_InitStruct.Pin = CS_I2C_SPI_Pin;
  GPIO_InitStruct.Mode = GPIO_MODE_OUTPUT_PP;
  GPIO_InitStruct.Pull = GPIO_NOPULL;
  GPIO_InitStruct.Speed = GPIO_SPEED_FREQ_LOW;
  HAL_GPIO_Init(CS_I2C_SPI_GPIO_Port, &GPIO_InitStruct);

  /*Configure GPIO pin : PDM_OUT_Pin */
  GPIO_InitStruct.Pin = PDM_OUT_Pin;
  GPIO_InitStruct.Mode = GPIO_MODE_AF_PP;
  GPIO_InitStruct.Pull = GPIO_NOPULL;
  GPIO_InitStruct.Speed = GPIO_SPEED_FREQ_LOW;
  GPIO_InitStruct.Alternate = GPIO_AF5_SPI2;
  HAL_GPIO_Init(PDM_OUT_GPIO_Port, &GPIO_InitStruct);

  /*Configure GPIO pin : B1_Pin */
  GPIO_InitStruct.Pin = B1_Pin;
  GPIO_InitStruct.Mode = GPIO_MODE_EVT_RISING;
  GPIO_InitStruct.Pull = GPIO_NOPULL;
  HAL_GPIO_Init(B1_GPIO_Port, &GPIO_InitStruct);

  /*Configure GPIO pins : SPI1_SCK_Pin SPI1_MOSI_Pin */
  GPIO_InitStruct.Pin = SPI1_SCK_Pin|SPI1_MOSI_Pin;
  GPIO_InitStruct.Mode = GPIO_MODE_AF_PP;
  GPIO_InitStruct.Pull = GPIO_NOPULL;
  GPIO_InitStruct.Speed = GPIO_SPEED_FREQ_LOW;
  GPIO_InitStruct.Alternate = GPIO_AF5_SPI1;
  HAL_GPIO_Init(GPIOA, &GPIO_InitStruct);

  /*Configure GPIO pin : BOOT1_Pin */
  GPIO_InitStruct.Pin = BOOT1_Pin;
  GPIO_InitStruct.Mode = GPIO_MODE_INPUT;
  GPIO_InitStruct.Pull = GPIO_NOPULL;
  HAL_GPIO_Init(BOOT1_GPIO_Port, &GPIO_InitStruct);

  /*Configure GPIO pin : CLK_IN_Pin */
  GPIO_InitStruct.Pin = CLK_IN_Pin;
  GPIO_InitStruct.Mode = GPIO_MODE_AF_PP;
  GPIO_InitStruct.Pull = GPIO_NOPULL;
  GPIO_InitStruct.Speed = GPIO_SPEED_FREQ_LOW;
  GPIO_InitStruct.Alternate = GPIO_AF5_SPI2;
  HAL_GPIO_Init(CLK_IN_GPIO_Port, &GPIO_InitStruct);

  /*Configure GPIO pins : PB12 PB13 PB14 PB15 */
  GPIO_InitStruct.Pin = GPIO_PIN_12|GPIO_PIN_13|GPIO_PIN_14|GPIO_PIN_15;
  GPIO_InitStruct.Mode = GPIO_MODE_OUTPUT_PP;
  GPIO_InitStruct.Pull = GPIO_NOPULL;
  GPIO_InitStruct.Speed = GPIO_SPEED_FREQ_LOW;
  HAL_GPIO_Init(GPIOB, &GPIO_InitStruct);

  /*Configure GPIO pins : LD4_Pin LD3_Pin LD5_Pin LD6_Pin
                           Audio_RST_Pin */
  GPIO_InitStruct.Pin = LD4_Pin|LD3_Pin|LD5_Pin|LD6_Pin
                          |Audio_RST_Pin;
  GPIO_InitStruct.Mode = GPIO_MODE_OUTPUT_PP;
  GPIO_InitStruct.Pull = GPIO_NOPULL;
  GPIO_InitStruct.Speed = GPIO_SPEED_FREQ_LOW;
  HAL_GPIO_Init(GPIOD, &GPIO_InitStruct);

  /*Configure GPIO pins : I2S3_SCK_Pin I2S3_SD_Pin */
  GPIO_InitStruct.Pin = I2S3_SCK_Pin|I2S3_SD_Pin;
  GPIO_InitStruct.Mode = GPIO_MODE_AF_PP;
  GPIO_InitStruct.Pull = GPIO_NOPULL;
  GPIO_InitStruct.Speed = GPIO_SPEED_FREQ_LOW;
  GPIO_InitStruct.Alternate = GPIO_AF6_SPI3;
  HAL_GPIO_Init(GPIOC, &GPIO_InitStruct);

  /*Configure GPIO pin : Audio_SDA_Pin */
  GPIO_InitStruct.Pin = Audio_SDA_Pin;
  GPIO_InitStruct.Mode = GPIO_MODE_AF_OD;
  GPIO_InitStruct.Pull = GPIO_PULLUP;
  GPIO_InitStruct.Speed = GPIO_SPEED_FREQ_LOW;
  GPIO_InitStruct.Alternate = GPIO_AF4_I2C1;
  HAL_GPIO_Init(Audio_SDA_GPIO_Port, &GPIO_InitStruct);

  /*Configure GPIO pin : MEMS_INT2_Pin */
  GPIO_InitStruct.Pin = MEMS_INT2_Pin;
  GPIO_InitStruct.Mode = GPIO_MODE_EVT_RISING;
  GPIO_InitStruct.Pull = GPIO_NOPULL;
  HAL_GPIO_Init(MEMS_INT2_GPIO_Port, &GPIO_InitStruct);

}

void Error_Handler(void)
{
  __disable_irq();
  while (1)
  {
  }
}
